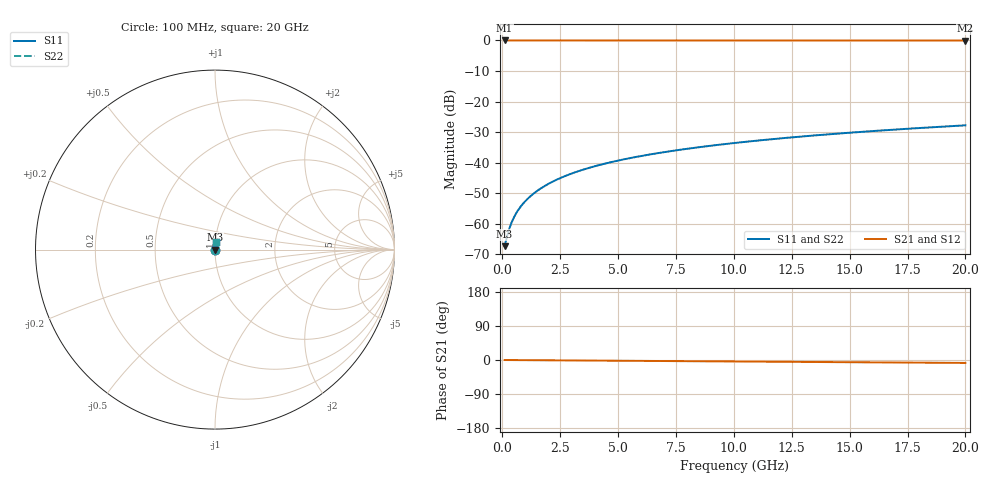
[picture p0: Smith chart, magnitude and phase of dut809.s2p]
! Touchstone file exported from HFSS 2026.1.0
!  File:  C:/ffzhzh/LocalFiles/Ansys_Project_Files/temp_train_TSV_809_1783184237_55132.aedt
!  Generated:  12:58:55 AM Jul  5, 2026
!  Design:  TSV
!  Project:  temp_train_TSV_809_1783184237_55132
! Variables:
!  h_bsmrdl = 2um
!  h_ox = 20um
!  h_rdl = 5um
!  h_sub = 74.93um
!  h_tmrdl = 5um
!  h_tsv = 74.93um
!  h_via = 3um
!  l_bsmrdl = 300um
!  l_sub = 410.42um
!  l_tmrdl = 200um
!  m_sub = 200um
!  pitch = 32.3um
!  r_tsv = 5.21um
!  s_tmrdl = 10um
!  w_bsmrdl = 18um
!  w_sub = 500um
!  w_tmrdl = 12um
!  x_tsv_center1 = 206um
!  x_tsv_center2 = 524um
!  x_tsv_center3 = 736um
!  x_tsv_center4 = 1054um
!  x_tsv_center5 = 1266um
!  x_tsv_center6 = 1584um
# GHz S MA R 50.000000
! Terminal data exported
! Port[1] = TSV1_1_T1
! Port[2] = TSV1_1_T2
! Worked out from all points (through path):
!   200 points, 100 MHz to 20 GHz, reference 50 ohm
!   highest |S21| = 0.00 dB at 100 MHz (marker M1); lowest = 0.0 dB at 20 GHz (marker M2)
!   group delay of S21, straight-line fit = 1.07 ps
!   lowest |S11| = -67.4 dB at 100 MHz (marker M3), VSWR 1.00, Z = 50 + j0.0248 ohm
!   |S11| at or under -10 dB: start of sweep to end of sweep
!   |S22| runs from -67.4 to -27.8 dB; largest |S21 - S12| = 1.2e-15
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0.1  0.000429 35.2  0.9996 -0.0  0.9996 -0.0  0.000429 35.2
! Gamma 0 0 0 0
! Port Impedance 50 0 50 0
0.2  0.0006109 53.6  0.9996 -0.1  0.9996 -0.1  0.0006109 53.6
0.3  0.0008238 62.6  0.9996 -0.1  0.9996 -0.1  0.0008238 62.6
0.4  0.001044 67.5  0.9996 -0.2  0.9996 -0.2  0.001044 67.5
0.5  0.001265 70.6  0.9996 -0.2  0.9996 -0.2  0.001265 70.6
0.6  0.001485 72.8  0.9996 -0.2  0.9996 -0.2  0.001485 72.8
0.8  0.001921 75.6  0.9995 -0.3  0.9995 -0.3  0.001921 75.6
1.1  0.00257 78.1  0.9995 -0.4  0.9995 -0.4  0.00257 78.1
1.3  0.003002 79.2  0.9995 -0.5  0.9995 -0.5  0.003002 79.2
1.6  0.003648 80.4  0.9994 -0.6  0.9994 -0.6  0.003648 80.4
2.1  0.004723 81.5  0.9994 -0.8  0.9994 -0.8  0.004723 81.5
2.7  0.006004 82.2  0.9993 -1.1  0.9993 -1.1  0.006004 82.2
3.5  0.007692 82.6  0.9992 -1.4  0.9992 -1.4  0.007692 82.6
4.2  0.009151 82.7  0.9991 -1.7  0.9991 -1.7  0.009151 82.7
5  0.0108 82.8  0.999 -2.0  0.999 -2.0  0.0108 82.8
5.9  0.01264 82.7  0.9988 -2.3  0.9988 -2.3  0.01264 82.7
6.8  0.01447 82.7  0.9987 -2.7  0.9987 -2.7  0.01447 82.7
8.3  0.01749 82.5  0.9985 -3.2  0.9985 -3.2  0.01749 82.5
10.1  0.02111 82.2  0.9984 -3.9  0.9984 -3.9  0.02111 82.2
13.4  0.0277 81.4  0.998 -5.2  0.998 -5.2  0.0277 81.4
16.7  0.03426 80.5  0.9976 -6.5  0.9976 -6.5  0.03426 80.5
20  0.04075 79.4  0.9972 -7.8  0.9972 -7.8  0.04075 79.4
